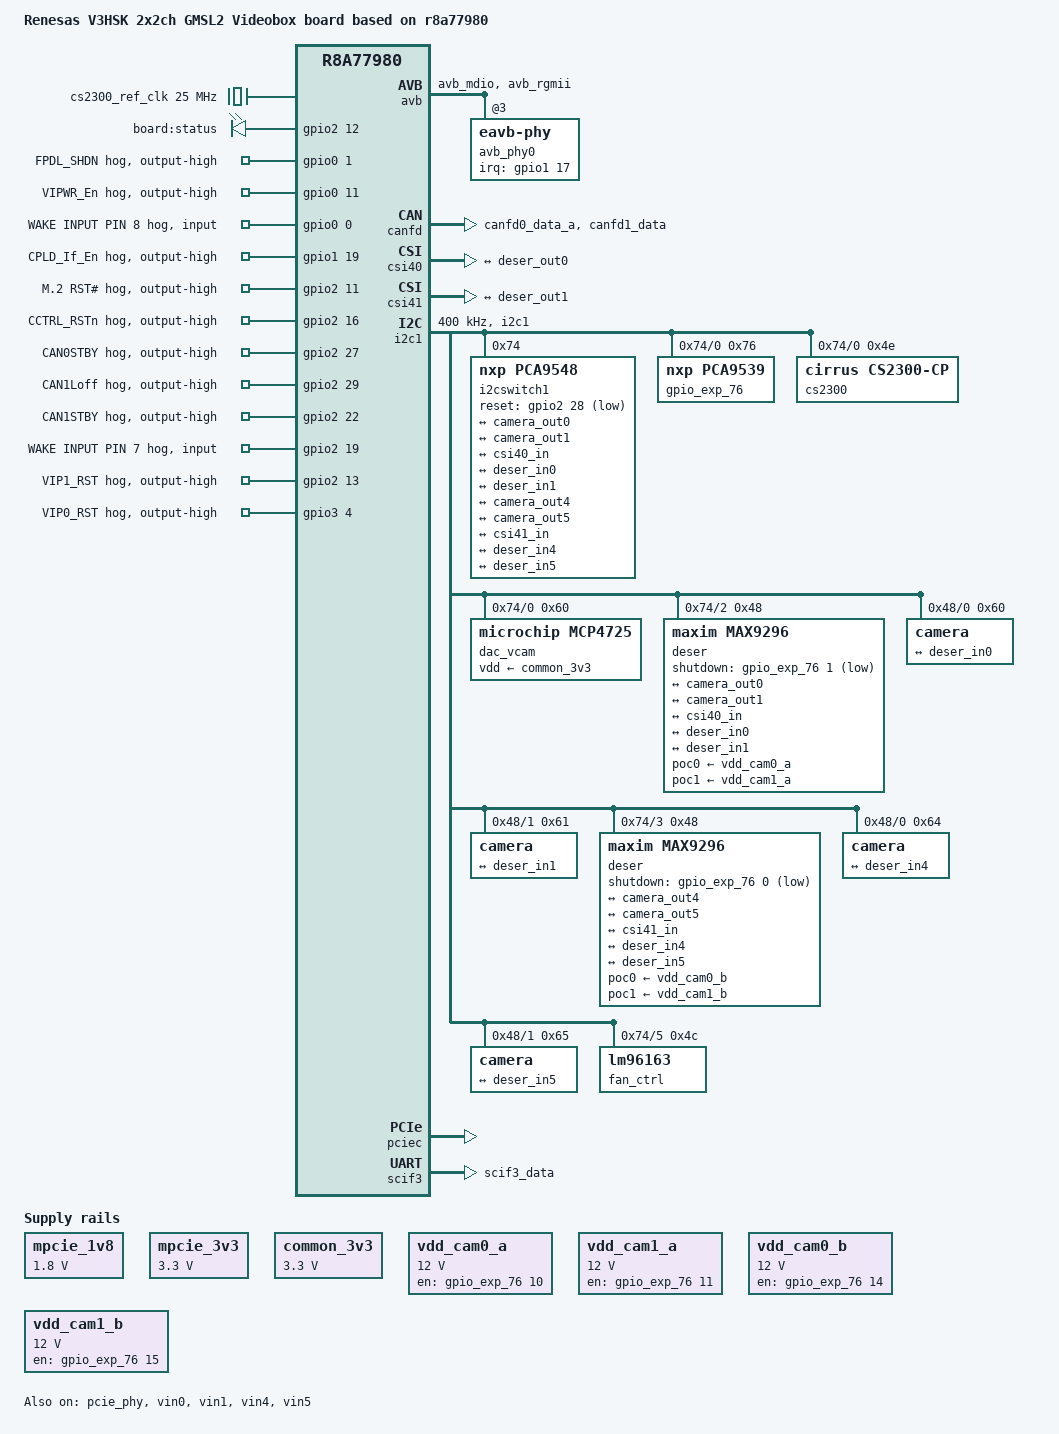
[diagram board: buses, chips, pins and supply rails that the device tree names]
// SPDX-License-Identifier: GPL-2.0
/*
 * Device Tree Source for the V3HSK GMSL2 Dual Videobox board on r8a77980
 *
 * Copyright (C) 2020 Cogent Embedded, Inc.
 */

#include "r8a77980-v3hsk.dts"
#include <dt-bindings/gpio/gpio.h>
#include "camera.dtsi"

/ {
	model = "Renesas V3HSK 2x2ch GMSL2 Videobox board based on r8a77980";

	aliases {
		serial1 = &scif3;
		ethernet1 = &avb;
	};

	cs2300_ref_clk: cs2300_ref_clk {
		compatible = "fixed-clock";
		#clock-cells = <0>;
		clock-frequency = <25000000>;
	};

	leds {
		compatible = "gpio-leds";

		led0 {
			label = "board:status";
			gpios = <&gpio2 12 GPIO_ACTIVE_HIGH>;
			linux,default-trigger = "none";
		};
	};

	mpcie_1v8: regulator2 {
		compatible = "regulator-fixed";
		regulator-name = "mPCIe 1v8";
		regulator-min-microvolt = <1800000>;
		regulator-max-microvolt = <1800000>;
		regulator-boot-on;
		regulator-always-on;
	};

	mpcie_3v3: regulator3 {
		compatible = "regulator-fixed";
		regulator-name = "mPCIe 3v3";
		regulator-min-microvolt = <3300000>;
		regulator-max-microvolt = <3300000>;
		regulator-boot-on;
		regulator-always-on;
	};

	common_3v3: regulator4 {
		compatible = "regulator-fixed";
		regulator-name = "main 3v3";
		regulator-min-microvolt = <3300000>;
		regulator-max-microvolt = <3300000>;
		regulator-boot-on;
		regulator-always-on;
	};

	vdd_cam0_a: regulator-vdd-cam0-a {
		compatible = "regulator-fixed";
		regulator-name = "Video-A PWR0";
		regulator-min-microvolt = <12000000>;
		regulator-max-microvolt = <12000000>;
		startup-delay-us = <50>;
		gpio = <&gpio_exp_76 10 GPIO_ACTIVE_HIGH>;
		enable-active-high;
	};

	vdd_cam1_a: regulator-vdd-cam1-a {
		compatible = "regulator-fixed";
		regulator-name = "Video-A PWR1";
		regulator-min-microvolt = <12000000>;
		regulator-max-microvolt = <12000000>;
		startup-delay-us = <50>;
		gpio = <&gpio_exp_76 11 GPIO_ACTIVE_HIGH>;
		enable-active-high;
	};

	vdd_cam0_b: regulator-vdd-cam0-b {
		compatible = "regulator-fixed";
		regulator-name = "Video-B PWR0";
		regulator-min-microvolt = <12000000>;
		regulator-max-microvolt = <12000000>;
		startup-delay-us = <50>;
		gpio = <&gpio_exp_76 14 GPIO_ACTIVE_HIGH>;
		enable-active-high;
	};

	vdd_cam1_b: regulator-vdd-cam1-b {
		compatible = "regulator-fixed";
		regulator-name = "Video-B PWR1";
		regulator-min-microvolt = <12000000>;
		regulator-max-microvolt = <12000000>;
		startup-delay-us = <50>;
		gpio = <&gpio_exp_76 15 GPIO_ACTIVE_HIGH>;
		enable-active-high;
	};
};

&avb {
	pinctrl-0 = <&avb_pins>;
	pinctrl-names = "default";
	renesas,no-ether-link;
	phy-handle = <&avb_phy0>;
	status = "okay";
	phy-int-gpio = <&gpio1 17 GPIO_ACTIVE_LOW>;

	avb_phy0: eavb-phy@0 {
		rxc-skew-ps = <1500>;
		rxdv-skew-ps = <420>; /* default */
		rxd0-skew-ps = <420>; /* default */
		rxd1-skew-ps = <420>; /* default */
		rxd2-skew-ps = <420>; /* default */
		rxd3-skew-ps = <420>; /* default */
		txc-skew-ps = <900>; /* default */
		txen-skew-ps = <420>; /* default */
		txd0-skew-ps = <420>; /* default */
		txd1-skew-ps = <420>; /* default */
		txd2-skew-ps = <420>; /* default */
		txd3-skew-ps = <420>; /* default */
		reg = <3>;
		interrupt-parent = <&gpio1>;
		interrupts = <17 IRQ_TYPE_LEVEL_LOW>;
		max-speed = <1000>;
	};
};

&canfd {
	pinctrl-0 = <&canfd0_pins &canfd1_pins>;
	pinctrl-names = "default";
	status = "okay";

	channel0 {
		status = "okay";
	};

	channel1 {
		status = "okay";
	};
};

&csi40 {
	status = "okay";

	ports {
		#address-cells = <1>;
		#size-cells = <0>;

		port@0 {
			reg = <0>;

			csi40_in: endpoint {
				clock-lanes = <0>;
				data-lanes = <1 2 3 4>;
				remote-endpoint = <&deser_out0>;
			};
		};
	};
};

&csi41 {
	status = "okay";

	ports {
		#address-cells = <1>;
		#size-cells = <0>;

		port@0 {
			reg = <0>;

			csi41_in: endpoint {
				clock-lanes = <0>;
				data-lanes = <1 2 3 4>;
				remote-endpoint = <&deser_out1>;
			};
		};
	};
};

&i2c1 {
	pinctrl-0 = <&i2c1_pins>;
	pinctrl-names = "default";
	status = "okay";

	clock-frequency = <400000>;

	i2cswitch1: i2c-switch@74 {
		compatible = "nxp,pca9548";
		#address-cells = <1>;
		#size-cells = <0>;
		reg = <0x74>;
		reset-gpios = <&gpio2 28 GPIO_ACTIVE_LOW>;

		i2c@0 {
			#address-cells = <1>;
			#size-cells = <0>;
			reg = <0>;

			gpio_exp_76: gpio@76 {
				compatible = "nxp,pca9539";
				reg = <0x76>;
				gpio-controller;
				#gpio-cells = <2>;

				cmr_pwr_en {
					gpio-hog;
					gpios = <3 GPIO_ACTIVE_HIGH>;
					output-high;
					line-name = "CmrPEn";
				};
			};

			cs2300: clk_multiplier@4e {
				#clock-cells = <0>;
				compatible = "cirrus,cs2300-cp";
				reg = <0x4e>;
				clocks = <&cs2300_ref_clk>;
				clock-names = "clk_in";

				assigned-clocks = <&cs2300>;
				assigned-clock-rates = <25000000>;
			};

			dac_vcam: dac_vcam@60 {
				compatible = "microchip,mcp4725";
				reg = <0x60>;
				vdd-supply = <&common_3v3>;
			};
		};

		i2c@2 {
			#address-cells = <1>;
			#size-cells = <0>;
			reg = <2>;

			deser@48 {
				compatible = "maxim,max9296";
				#address-cells = <1>;
				#size-cells = <0>;
				reg = <0x48>;
				regs = <0x0c 0x0d>;
				clocks = <&cs2300>;
				clock-names = "ref_clk";
				shutdown-gpios = <&gpio_exp_76 1 GPIO_ACTIVE_LOW>;

				maxim,links-mipi-map = <1 1>;

				poc0-supply = <&vdd_cam0_a>;
				poc1-supply = <&vdd_cam1_a>;

				ports {
					#address-cells = <1>;
					#size-cells = <0>;

					port@0 {
						reg = <0>;
						deser_in0: endpoint {
							remote-endpoint = <&camera_out0>;
						};
					};

					port@1 {
						reg = <1>;
						deser_in1: endpoint {
							remote-endpoint = <&camera_out1>;
						};
					};

					port@4 {
						reg = <4>;
						deser_out0: endpoint {
							clock-lanes = <0>;
							data-lanes = <1 2 3 4>;
							remote-endpoint = <&csi40_in>;
						};
					};
				};

				i2c@0 {
					#address-cells = <1>;
					#size-cells = <0>;
					reg = <0>;

					camera@60 {
						compatible = LVDS_CAMERA;
						reg = <0x60 0x0c>;

						port {
							camera_out0: endpoint {
								remote-endpoint = <&deser_in0>;
							};
						};
					};
				};

				i2c@1 {
					#address-cells = <1>;
					#size-cells = <0>;
					reg = <1>;

					camera@61 {
						compatible = LVDS_CAMERA;
						reg = <0x61 0x0d>;

						port {
							camera_out1: endpoint {
								remote-endpoint = <&deser_in1>;
							};
						};
					};
				};
			};
		};

		i2c@3 {
			#address-cells = <1>;
			#size-cells = <0>;
			reg = <3>;

			deser@48 {
				compatible = "maxim,max9296";
				#address-cells = <1>;
				#size-cells = <0>;
				reg = <0x48>;
				regs = <0x1c 0x1d>;
				clocks = <&cs2300>;
				clock-names = "ref_clk";
				shutdown-gpios = <&gpio_exp_76 0 GPIO_ACTIVE_LOW>;

				maxim,links-mipi-map = <1 1>;

				poc0-supply = <&vdd_cam0_b>;
				poc1-supply = <&vdd_cam1_b>;

				ports {
					#address-cells = <1>;
					#size-cells = <0>;

					port@0 {
						reg = <0>;
						deser_in4: endpoint {
							remote-endpoint = <&camera_out4>;
						};
					};

					port@1 {
						reg = <1>;
						deser_in5: endpoint {
							remote-endpoint = <&camera_out5>;
						};
					};

					port@4 {
						reg = <4>;
						deser_out1: endpoint {
							clock-lanes = <0>;
							data-lanes = <1 2 3 4>;
							remote-endpoint = <&csi41_in>;
						};
					};
				};

				i2c@0 {
					#address-cells = <1>;
					#size-cells = <0>;
					reg = <0>;

					camera@64 {
						compatible = LVDS_CAMERA;
						reg = <0x64 0x1c>;

						port {
							camera_out4: endpoint {
								remote-endpoint = <&deser_in4>;
							};
						};
					};
				};

				i2c@1 {
					#address-cells = <1>;
					#size-cells = <0>;
					reg = <1>;

					camera@65 {
						compatible = LVDS_CAMERA;
						reg = <0x65 0x1d>;

						port {
							camera_out5: endpoint {
								remote-endpoint = <&deser_in5>;
							};
						};
					};
				};
			};
		};

		i2c@5 {
			#address-cells = <1>;
			#size-cells = <0>;
			reg = <5>;

			fan_ctrl: lm96063@4c {
				compatible = "lm96163";
				reg = <0x4c>;
			};
		};

		i2c@7 {
			#address-cells = <1>;
			#size-cells = <0>;
			reg = <7>;

			/* ext connector nodes here */
		};
	};
};

&gpio0 {
	fpdl_shdn {
		gpio-hog;
		gpios = <1 GPIO_ACTIVE_HIGH>;
		output-high;
		line-name = "FPDL_SHDN";
	};

	cam_pwr_en {
		gpio-hog;
		gpios = <11 GPIO_ACTIVE_HIGH>;
		output-high;
		line-name = "VIPWR_En";
	};

	wake_pin_8 {
		gpio-hog;
		gpios = <0 GPIO_ACTIVE_HIGH>;
		input;
		line-name = "WAKE INPUT PIN 8";
	};
};

&gpio1 {
	md_buf_en {
		gpio-hog;
		gpios = <19 GPIO_ACTIVE_HIGH>;
		output-high;
		line-name = "CPLD_If_En";
	};
};

&gpio2 {
	m2_rst {
		gpio-hog;
		gpios = <11 GPIO_ACTIVE_HIGH>;
		output-high;
		line-name = "M.2 RST#";
	};

	cctrl_rstn {
		gpio-hog;
		gpios = <16 GPIO_ACTIVE_HIGH>;
		output-high;
		line-name = "CCTRL_RSTn";
	};

	can0_stby {
		gpio-hog;
		gpios = <27 GPIO_ACTIVE_HIGH>;
		output-high;
		line-name = "CAN0STBY";
	};

	can1_load {
		gpio-hog;
		gpios = <29 GPIO_ACTIVE_HIGH>;
		output-high;
		line-name = "CAN1Loff";
	};

	can1_stby {
		gpio-hog;
		gpios = <22 GPIO_ACTIVE_HIGH>;
		output-high;
		line-name = "CAN1STBY";
	};

	wake_pin_7 {
		gpio-hog;
		gpios = <19 GPIO_ACTIVE_HIGH>;
		input;
		line-name = "WAKE INPUT PIN 7";
	};

	vi1_gpioext_rst {
		gpio-hog;
		gpios = <13 GPIO_ACTIVE_HIGH>;
		output-high;
		line-name = "VIP1_RST";
	};
};

&gpio3 {
	vi0_gpioext_rst {
		gpio-hog;
		gpios = <4 GPIO_ACTIVE_HIGH>;
		output-high;
		line-name = "VIP0_RST";
	};
};

&pcie_bus_clk {
	clock-frequency = <100000000>;
	status = "okay";
};

&pciec {
	pcie3v3-supply = <&mpcie_3v3>;
	pcie1v8-supply = <&mpcie_1v8>;
	status = "okay";
};

&pcie_phy {
	status = "okay";
};

&pfc {
	canfd0_pins: canfd0 {
		groups = "canfd0_data_a";
		function = "canfd0";
	};

	canfd1_pins: canfd1 {
		groups = "canfd1_data";
		function = "canfd1";
	};

	avb_pins: avb {
		groups = "avb_mdio", "avb_rgmii";
		function = "avb";
	};

	i2c1_pins: i2c1 {
		groups = "i2c1";
		function = "i2c1";
	};

	scif3_pins: scif3 {
		groups = "scif3_data";
		function = "scif3";
	};
};

&scif3 {
	pinctrl-0 = <&scif3_pins>;
	pinctrl-names = "default";

	status = "okay";
};

&tpu {
	status = "disabled";
};

&vin0 {
	status = "okay";
};

&vin1 {
	status = "okay";
};

&vin4 {
	status = "okay";
};

&vin5 {
	status = "okay";
};
